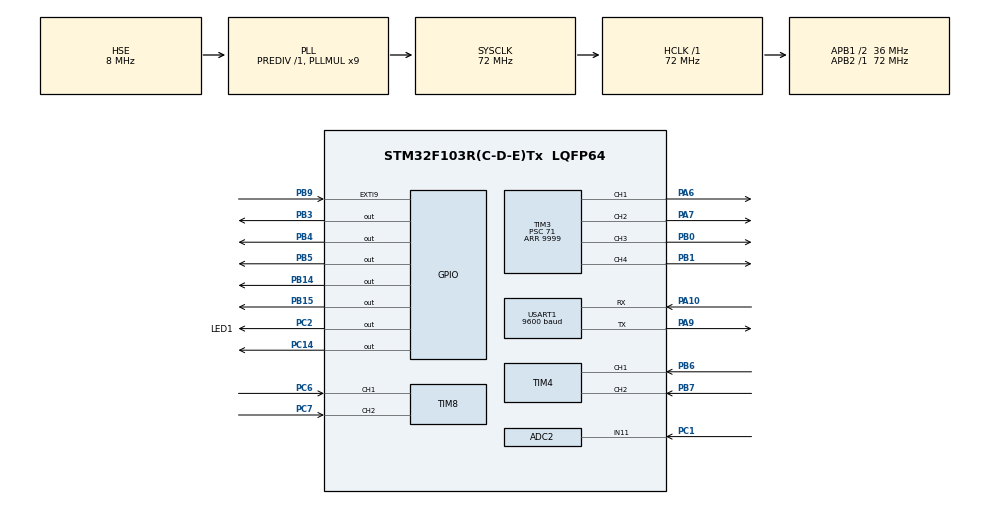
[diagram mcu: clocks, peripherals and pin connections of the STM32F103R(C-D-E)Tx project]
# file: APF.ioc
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ADC2.Channel-0\#ChannelRegularConversion=ADC_CHANNEL_11
ADC2.NbrOfConversionFlag=1
ADC2.Rank-0\#ChannelRegularConversion=1
ADC2.SamplingTime-0\#ChannelRegularConversion=ADC_SAMPLETIME_13CYCLES_5
Mcu.Family=STM32F1
Mcu.Name=STM32F103R(C-D-E)Tx
Mcu.Package=LQFP64
NVIC.PriorityGroup=NVIC_PRIORITYGROUP_4
NVIC.TIM3_IRQn=true\:0\:0\:false\:false\:true\:true\:true\:true
NVIC.USART1_IRQn=true\:0\:0\:false\:false\:true\:true\:true\:true
PA10.Mode=Asynchronous
PA10.Signal=USART1_RX
PA13.Mode=Serial_Wire
PA13.Signal=SYS_JTMS-SWDIO
PA14.Mode=Serial_Wire
PA14.Signal=SYS_JTCK-SWCLK
PA6.GPIO_ModeDefaultPP=GPIO_MODE_AF_PP
PA6.Signal=S_TIM3_CH1
PA7.GPIO_ModeDefaultPP=GPIO_MODE_AF_PP
PA7.Signal=S_TIM3_CH2
PA9.Mode=Asynchronous
PA9.Signal=USART1_TX
PB0.GPIO_Speed=GPIO_SPEED_FREQ_LOW
PB0.Signal=S_TIM3_CH3
PB1.GPIO_Speed=GPIO_SPEED_FREQ_LOW
PB1.Signal=S_TIM3_CH4
PB14.Signal=GPIO_Output
PB15.Signal=GPIO_Output
PB3.GPIO_Speed=GPIO_SPEED_FREQ_LOW
PB3.PinState=GPIO_PIN_SET
PB3.Signal=GPIO_Output
PB4.GPIO_Speed=GPIO_SPEED_FREQ_LOW
PB4.PinState=GPIO_PIN_SET
PB4.Signal=GPIO_Output
PB5.GPIO_Speed=GPIO_SPEED_FREQ_LOW
PB5.PinState=GPIO_PIN_SET
PB5.Signal=GPIO_Output
PB6.GPIO_PuPd=GPIO_PULLUP
PB6.Signal=S_TIM4_CH1
PB7.GPIO_PuPd=GPIO_PULLUP
PB7.Signal=S_TIM4_CH2
PB9.GPIO_ModeDefaultEXTI=GPIO_MODE_IT_FALLING
PB9.GPIO_PuPd=GPIO_PULLUP
PB9.Signal=GPXTI9
PC1.Signal=ADCx_IN11
PC14-OSC32_IN.GPIO_ModeDefaultOutputPP=GPIO_MODE_OUTPUT_PP
PC14-OSC32_IN.GPIO_PuPd=GPIO_NOPULL
PC14-OSC32_IN.GPIO_Speed=GPIO_SPEED_FREQ_LOW
PC14-OSC32_IN.Signal=GPIO_Output
PC2.GPIO_Label=LED1
PC2.GPIO_PuPd=GPIO_PULLUP
PC2.Signal=GPIO_Output
PC6.GPIO_PuPd=GPIO_PULLUP
PC6.Signal=S_TIM8_CH1
PC7.GPIO_PuPd=GPIO_PULLUP
PC7.Signal=S_TIM8_CH2
PD0-OSC_IN.Mode=HSE-External-Oscillator
PD0-OSC_IN.Signal=RCC_OSC_IN
PD1-OSC_OUT.Mode=HSE-External-Oscillator
PD1-OSC_OUT.Signal=RCC_OSC_OUT
ProjectManager.HeapSize=0x800
ProjectManager.StackSize=0x800
ProjectManager.TargetToolchain=MDK-ARM V5.32
RCC.ADCPresc=RCC_ADCPCLK2_DIV6
RCC.AHBFreq_Value=72000000
RCC.APB1CLKDivider=RCC_HCLK_DIV2
RCC.APB1Freq_Value=36000000
RCC.APB1TimFreq_Value=72000000
RCC.APB2Freq_Value=72000000
RCC.APB2TimFreq_Value=72000000
RCC.HCLKFreq_Value=72000000
RCC.PLLMUL=RCC_PLL_MUL9
RCC.PLLSourceVirtual=RCC_PLLSOURCE_HSE
RCC.SYSCLKFreq_VALUE=72000000
RCC.SYSCLKSource=RCC_SYSCLKSOURCE_PLLCLK
RCC.USBFreq_Value=72000000
SH.ADCx_IN11.0=ADC2_IN11,IN11
SH.S_TIM3_CH1.0=TIM3_CH1,PWM Generation1 CH1
SH.S_TIM3_CH2.0=TIM3_CH2,PWM Generation2 CH2
SH.S_TIM3_CH3.0=TIM3_CH3,PWM Generation3 CH3
SH.S_TIM3_CH4.0=TIM3_CH4,PWM Generation4 CH4
SH.S_TIM4_CH1.0=TIM4_CH1,Encoder_Interface
SH.S_TIM4_CH2.0=TIM4_CH2,Encoder_Interface
SH.S_TIM8_CH1.0=TIM8_CH1,Encoder_Interface
SH.S_TIM8_CH2.0=TIM8_CH2,Encoder_Interface
TIM3.AutoReloadPreload=TIM_AUTORELOAD_PRELOAD_ENABLE
TIM3.Channel-PWM\ Generation1\ CH1=TIM_CHANNEL_1
TIM3.Channel-PWM\ Generation2\ CH2=TIM_CHANNEL_2
TIM3.Channel-PWM\ Generation3\ CH3=TIM_CHANNEL_3
TIM3.Channel-PWM\ Generation4\ CH4=TIM_CHANNEL_4
TIM3.Period=9999
TIM3.Prescaler=71
TIM3.Pulse-PWM\ Generation1\ CH1=0
TIM3.Pulse-PWM\ Generation2\ CH2=0
TIM4.AutoReloadPreload=TIM_AUTORELOAD_PRELOAD_ENABLE
TIM4.EncoderMode=TIM_ENCODERMODE_TI12
TIM4.IC1Filter=6
TIM4.IC2Filter=6
TIM8.AutoReloadPreload=TIM_AUTORELOAD_PRELOAD_ENABLE
TIM8.EncoderMode=TIM_ENCODERMODE_TI12
TIM8.IC1Filter=6
TIM8.IC2Filter=6
USART1.BaudRate=9600
USART1.VirtualMode=VM_ASYNC
VP_TIM3_VS_ClockSourceINT.Mode=Internal
board=custom

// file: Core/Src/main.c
/* USER CODE BEGIN Header */
/**
  ******************************************************************************
  * @file           : main.c
  * @brief          : Main program body
  ******************************************************************************
  * @attention
  *
  * Copyright (c) 2023 STMicroelectronics.
  * All rights reserved.
  *
  * This software is licensed under terms that can be found in the LICENSE file
  * in the root directory of this software component.
  * If no LICENSE file comes with this software, it is provided AS-IS.
  *
  ******************************************************************************
  */
/* USER CODE END Header */
#include "main.h"
#include "adc.h"
#include "tim.h"
#include "usart.h"
#include "gpio.h"

/* USER CODE BEGIN Includes */
#include "pid.h"
#include <string.h>
#include <math.h>
#include "bsp_oled.h"
#include "Header.h"
/* USER CODE END Includes */

/* USER CODE BEGIN PD */
#define LED1_ON() HAL_GPIO_WritePin(LED1_GPIO_Port, LED1_Pin, GPIO_PIN_RESET)
#define LED1_OFF() HAL_GPIO_WritePin(LED1_GPIO_Port, LED1_Pin, GPIO_PIN_SET)
#define LED1_TOGGLE() HAL_GPIO_TogglePin(LED1_GPIO_Port, LED1_Pin)
/* USER CODE END PD */

/* USER CODE BEGIN PM */

short Encoder1Count = 0;
short Encoder2Count = 0;

float Motor1Speed = 0.00;
float Motor2Speed = 0.00;

uint16_t Timer1Count = 0;

extern tPid pidMotor1Speed, pidMotor2Speed, pidMPU6050YawMovement, pidMPU6050PitchMovement;
extern Car wheel;

uint8_t OledString[30];

float Mileage = 0.00;
float S = 0;

extern float Roll, Pitch, Yaw;

float g_fMPU6050YawMovePidOut = 0, g_fMPU6050YawMovePidOut1 = 0, g_fMPU6050YawMovePidOut2 = 0,
	  g_fMPU6050PitchMovePidOut = 0, g_fMPU6050PitchMovePidOut1 = 0, g_fMPU6050PitchMovePidOut2 = 0;

double current_x = 0, current_y = 0;

/* USER CODE END PM */

void SystemClock_Config(void);

/* USER CODE BEGIN 0 */

int XianFu_PWM(int pwm)
{
	if (pwm >= 8000)
	{
		pwm = 8000;
	}
	else if (pwm <= -8000)
	{
		pwm = -8000;
	}
	return pwm;
}

void Motor_Left(int pwm)
{
	if (pwm > 0) // forward
	{
		__HAL_TIM_SET_COMPARE(&htim3, TIM_CHANNEL_1, pwm);
		__HAL_TIM_SET_COMPARE(&htim3, TIM_CHANNEL_2, 0);
	}
	else if(pwm < 0) //back
	{
		__HAL_TIM_SET_COMPARE(&htim3, TIM_CHANNEL_1, 0);
		__HAL_TIM_SET_COMPARE(&htim3, TIM_CHANNEL_2, -pwm);
	}
	else // stop
	{
		__HAL_TIM_SET_COMPARE(&htim3, TIM_CHANNEL_1, 0);
		__HAL_TIM_SET_COMPARE(&htim3, TIM_CHANNEL_2, 0);
	}
}

void Motor_Right(int pwm)
{
	pwm = -pwm;
	if (pwm > 0) // forward
	{
		__HAL_TIM_SET_COMPARE(&htim3, TIM_CHANNEL_3, pwm);
		__HAL_TIM_SET_COMPARE(&htim3, TIM_CHANNEL_4, 0);
	}
	else if(pwm < 0) //back
	{
		__HAL_TIM_SET_COMPARE(&htim3, TIM_CHANNEL_3, 0);
		__HAL_TIM_SET_COMPARE(&htim3, TIM_CHANNEL_4, -pwm);
	}
	else // stop
	{
		__HAL_TIM_SET_COMPARE(&htim3, TIM_CHANNEL_3, 0);
		__HAL_TIM_SET_COMPARE(&htim3, TIM_CHANNEL_4, 0);
	}
}

void Motor_Control(int pwm1, int pwm2)
{
	// if (pwm1 == pwm2 ) go straight
	// if (pwm1 > pwm2) turn right
	// if (pwm1 < pwm2) turn left
	pwm1 = XianFu_PWM(pwm1);
	pwm2 = XianFu_PWM(pwm2);
	Motor_Left(pwm1);
	Motor_Right(pwm2);

}

////MotorPidSetSpeed(3, 4);//turn left
////MotorPidSetSpeed(4, 3);//turn right
////MotorPidSetSpeed(4, 4);//forward
////MotorPidSetSpeed(-3, -3);//backward
void MotorPidSetSpeed(float Motor1SetSpeed, float Motor2SetSpeed)
{
	//Set pid target speed
	pidMotor1Speed.target_val = Motor1SetSpeed;
	pidMotor2Speed.target_val = Motor2SetSpeed;

	Motor_Control(PID_realize(&pidMotor1Speed, Motor1Speed), PID_realize(&pidMotor2Speed, Motor2Speed));
}

void stop(void)
{
	pidMotor1Speed.target_val = 0;
	pidMotor2Speed.target_val = 0;
	Motor_Control(0, 0);
}

float MotorTurnAngle(float angle)
{
	pidMPU6050YawMovement.target_val = angle;
	g_fMPU6050YawMovePidOut = PID_Anglerealize(&pidMPU6050YawMovement, Yaw);

//	g_fMPU6050YawMovePidOut1 = speed - g_fMPU6050YawMovePidOut;
//	g_fMPU6050YawMovePidOut2 = speed + g_fMPU6050YawMovePidOut;
//	MotorPidSetSpeed(g_fMPU6050YawMovePidOut1, g_fMPU6050YawMovePidOut2);

	return g_fMPU6050YawMovePidOut;
}

void Climb (float angle, float speed)
{
	pidMPU6050PitchMovement.target_val = -angle;
	g_fMPU6050PitchMovePidOut = PID_Anglerealize(&pidMPU6050PitchMovement, Pitch);
	g_fMPU6050PitchMovePidOut1 = speed - g_fMPU6050PitchMovePidOut;
	g_fMPU6050PitchMovePidOut2 = speed + g_fMPU6050PitchMovePidOut;
	MotorPidSetSpeed(g_fMPU6050PitchMovePidOut1, g_fMPU6050PitchMovePidOut2);
}

void OLED_Show()
{
	memset(OLED_GRAM, 0, 128 * 8 * sizeof(uint8_t));
	sprintf((char*)OledString, "v1: %2.2fv2: %2.2f", Motor1Speed, Motor2Speed);
	OLED_ShowString(0, 0, OledString);
	sprintf((char*)OledString, "Mileage: %2.2f", Mileage);
	OLED_ShowString(0, 10, OledString);
	sprintf((char*)OledString, "U: %2.2fV", adcGetBatteryVoltage());
	OLED_ShowString(0, 20, OledString);
	sprintf((char*)OledString, "X: %2.1f", current_x);
	OLED_ShowString(0, 30, OledString);
	sprintf((char*)OledString, "Y: %2.1f", current_y);
	OLED_ShowString(0, 40, OledString);
	sprintf((char*)OledString, "Yaw: %2.1f", Yaw);
	OLED_ShowString(0, 50, OledString);
	//sprintf((char*)OledString, "D: %2.2f", g_fMPU6050YawMovePidOut);
	//sprintf((char*)OledString, "D: %2.2f", g_fMPU6050PitchMovePidOut);
	//OLED_ShowString(64, 50, OledString);
//	sprintf((char*)OledString, "M: %2.2f", MAX_Roll);
//	OLED_ShowString(64, 40, OledString);
//	sprintf((char*)OledString, "T: %2.2f", Target_Yaw);
//	OLED_ShowString(64, 30, OledString);
	OLED_Refresh_Gram();
}

float MovePidLine(float distance)
{
	wheel.target_pos = distance;

	float res = Position_PID(&wheel, Mileage);
	return res;
}

float XianFuSpeed(float speed, float Lim_Speed)
{
	if (speed > 3)
	{
		speed = 3;
	}
	else if(speed < -1)
	{
		speed = -1;
	}
	else if (speed < Lim_Speed && speed >= -1)
	{
		speed = 0;
	}
	return speed;
}

void MoveTo(float target_x, float target_y, float Lim_Speed)
{
	float delta_x = target_x - current_x;
	float delta_y = target_y - current_y;

	if (delta_x == 0 && delta_y == 0)
	{
		stop();
		return;
	}

	float distance = sqrt(delta_x * delta_x + delta_y * delta_y);
	//float a = atan2(delta_y, delta_x) * 180 / 3.1415926;
	float angle = atan2(delta_y, delta_x) * 180 / 3.1415926;
	//float angle = a - Yaw;
	float WheelLSpeed = Lim_Speed + MovePidLine(distance) - MotorTurnAngle(angle);
	float WheelRSpeed = Lim_Speed + MotorTurnAngle(angle) + MovePidLine(distance);
	WheelLSpeed = XianFuSpeed(WheelLSpeed, Lim_Speed); WheelRSpeed = XianFuSpeed(WheelRSpeed, Lim_Speed);
	if (WheelLSpeed == 0 && WheelRSpeed == 0 )
	{
		current_x = target_x;
		current_y = target_y;
	}
	MotorPidSetSpeed(WheelLSpeed, WheelRSpeed);
}

void ContinueMoveTo(float target_x, float target_y, float Lim_Speed)
{
	//DMP_Init();
	Mileage = 0;
	while (1)
	{
		OLED_Show();
		Read_DMP();
		MoveTo(target_x, target_y, Lim_Speed);

		if (current_x == target_x && current_y == target_y)
		{
			stop();
			return;
		}

	}
}

void HAL_TIM_PeriodElapsedCallback(TIM_HandleTypeDef *htim)
{

	if (htim->Instance == TIM3) // 1000hz 10ms
	{

		static int Moto1 = 0, Moto2 = 0;
		Timer1Count++;
		if (Timer1Count % 1 == 0)
		{
			Encoder1Count = (short)__HAL_TIM_GET_COUNTER(&htim4);
			Encoder2Count = -(short)__HAL_TIM_GET_COUNTER(&htim8);

			Motor1Speed = (float)Encoder1Count * 100 / 30 / 13 / 4;
			Motor2Speed = (float)Encoder2Count * 100 / 1560;
			__HAL_TIM_SET_COUNTER(&htim4, 0);
			__HAL_TIM_SET_COUNTER(&htim8, 0);
			//Show_Info();

		}
		if (Timer1Count % 2 == 0) //20ms
		{

			Mileage += 31.6 * (Motor1Speed + Motor2Speed) / 2 * 0.02 * 0.044; // dm
//			Moto1 = PID_realize(&pidMotor1Speed, Motor1Speed);
//			Moto2 = PID_realize(&pidMotor2Speed, Motor2Speed);
			//Motor_Control(Moto1, Moto2);

		}
	}
}

/* USER CODE END 0 */

int main(void)
{

  /* MCU Configuration--------------------------------------------------------*/

  /* Reset of all peripherals, Initializes the Flash interface and the Systick. */
  HAL_Init();

  /* Configure the system clock */
  SystemClock_Config();

  /* Initialize all configured peripherals */
  MX_GPIO_Init();
  MX_TIM3_Init();
  MX_USART1_UART_Init();
  MX_TIM4_Init();
  MX_TIM8_Init();
  MX_ADC2_Init();
  /* USER CODE BEGIN 2 */

	LED1_ON();

	HAL_TIM_PWM_Start(&htim3, TIM_CHANNEL_1);
	HAL_TIM_PWM_Start(&htim3, TIM_CHANNEL_2);
	HAL_TIM_PWM_Start(&htim3, TIM_CHANNEL_3);
	HAL_TIM_PWM_Start(&htim3, TIM_CHANNEL_4);

	HAL_TIM_Encoder_Start(&htim4, TIM_CHANNEL_1);
	HAL_TIM_Encoder_Start(&htim4, TIM_CHANNEL_2);
	HAL_TIM_Encoder_Start(&htim8, TIM_CHANNEL_1);
	HAL_TIM_Encoder_Start(&htim8, TIM_CHANNEL_2);

	HAL_TIM_Base_Start_IT(&htim3);

	__HAL_UART_ENABLE_IT(&huart1, UART_IT_RXNE);

	PID_init();

	OLED_Init();

	MPU6050_initialize();
	DMP_Init();

	LED1_OFF();

	current_x = 0.13;
	current_y = 0.12;

//	float x[5] = { 6.6, 8.5, 8.5, 17.5, 18 };
//	float y[5] = { 0, 10, 12, 17.5,18};

//	for (int i = 0; i < 4; i++)
//	{
//		ContinueMoveTo(x[i], y[i], 1);
//	}

  /* USER CODE END 2 */

  /* Infinite loop */
  while (1)
  {

    /* USER CODE BEGIN 3 */
	  OLED_Show();
	  Read_DMP();
  }
  /* USER CODE END 3 */
}

void SystemClock_Config(void)
{
  RCC_OscInitTypeDef RCC_OscInitStruct = {0};
  RCC_ClkInitTypeDef RCC_ClkInitStruct = {0};
  RCC_PeriphCLKInitTypeDef PeriphClkInit = {0};

  /** Initializes the RCC Oscillators according to the specified parameters
  * in the RCC_OscInitTypeDef structure.
  */
  RCC_OscInitStruct.OscillatorType = RCC_OSCILLATORTYPE_HSE;
  RCC_OscInitStruct.HSEState = RCC_HSE_ON;
  RCC_OscInitStruct.HSEPredivValue = RCC_HSE_PREDIV_DIV1;
  RCC_OscInitStruct.HSIState = RCC_HSI_ON;
  RCC_OscInitStruct.PLL.PLLState = RCC_PLL_ON;
  RCC_OscInitStruct.PLL.PLLSource = RCC_PLLSOURCE_HSE;
  RCC_OscInitStruct.PLL.PLLMUL = RCC_PLL_MUL9;
  if (HAL_RCC_OscConfig(&RCC_OscInitStruct) != HAL_OK)
  {
    Error_Handler();
  }

  /** Initializes the CPU, AHB and APB buses clocks
  */
  RCC_ClkInitStruct.ClockType = RCC_CLOCKTYPE_HCLK|RCC_CLOCKTYPE_SYSCLK
                              |RCC_CLOCKTYPE_PCLK1|RCC_CLOCKTYPE_PCLK2;
  RCC_ClkInitStruct.SYSCLKSource = RCC_SYSCLKSOURCE_PLLCLK;
  RCC_ClkInitStruct.AHBCLKDivider = RCC_SYSCLK_DIV1;
  RCC_ClkInitStruct.APB1CLKDivider = RCC_HCLK_DIV2;
  RCC_ClkInitStruct.APB2CLKDivider = RCC_HCLK_DIV1;

  if (HAL_RCC_ClockConfig(&RCC_ClkInitStruct, FLASH_LATENCY_2) != HAL_OK)
  {
    Error_Handler();
  }
  PeriphClkInit.PeriphClockSelection = RCC_PERIPHCLK_ADC;
  PeriphClkInit.AdcClockSelection = RCC_ADCPCLK2_DIV6;
  if (HAL_RCCEx_PeriphCLKConfig(&PeriphClkInit) != HAL_OK)
  {
    Error_Handler();
  }
}

void Error_Handler(void)
{
  __disable_irq();
  while (1)
  {
  }
}
